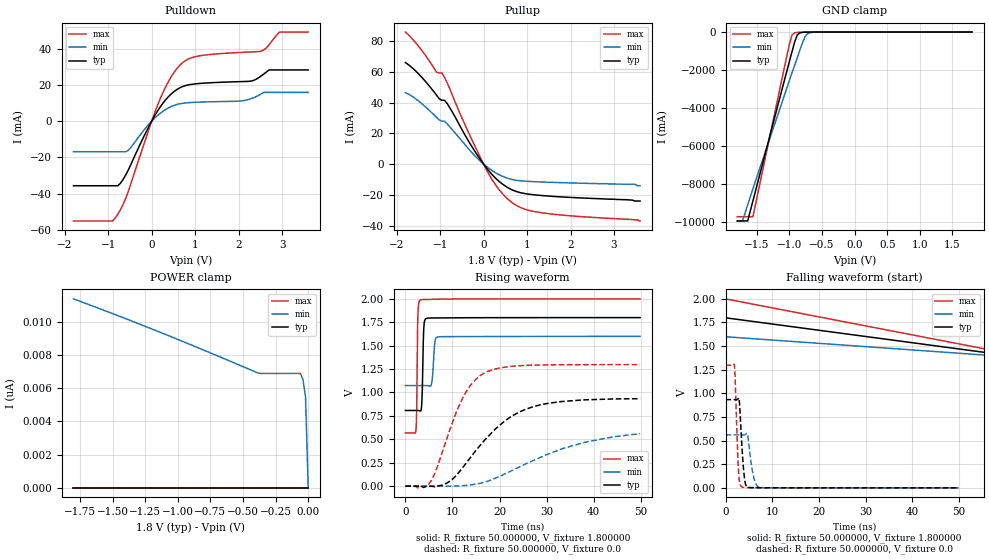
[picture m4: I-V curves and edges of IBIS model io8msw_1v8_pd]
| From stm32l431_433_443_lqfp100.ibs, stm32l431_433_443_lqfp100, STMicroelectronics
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|   Model io8msw_1v8_pd
[Model]  io8msw_1v8_pd
Model_type I/O
Polarity   Non-Inverting
Enable   Active-Low
Vinl =   0.540000V
Vinh =   1.260000V
Vmeas =  0.900000V
Cref =   100.000000nF
Rref =   1.000000k
Vref =   1.800000V
C_comp   2.845500pF   2.787900pF   3.023700pF
[Temperature Range]   25.000000   0.125000k   -40.000000
[Pullup Reference]   1.800000V   1.600000V   2.000000V
[Pulldown Reference]   0.0V   0.0V   0.0V
[POWER Clamp Reference]   1.800000V   1.600000V   2.000000V
[GND Clamp Reference]   0.0V   0.0V   0.0V
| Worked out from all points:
|   slope of the pulldown table from 0 to 0.27 V, typ, clamps not added: 26.4 ohm
|   slope of the pullup table from 0 to 0.27 V, typ, clamps not added: 30.1 ohm
|   GND clamp passes 1 mA (typ) near -0.58 V on its own axis
|   rising waveform, R_fixture 50.000000, V_fixture 1.800000: 20-80 % time 263ps typ, 401ps min, 194ps max; typ from 0.808 V to 1.8 V
|   rising waveform, R_fixture 50.000000, V_fixture 0.0: 20-80 % time 10.6ns typ, 16.4ns min, 6.12ns max; typ from 0 V to 0.933 V
|   falling waveform, R_fixture 50.000000, V_fixture 1.800000: 20-80 % time 90.1ns typ, 90.1ns min, 90.1ns max; typ from 1.8 V to 0.808 V
|   falling waveform, R_fixture 50.000000, V_fixture 0.0: 20-80 % time 712ps typ, 1.02ns min, 552ps max; typ from 0.933 V to 0 V
[Pulldown]
|Voltage   I(typ)   I(min)   I(max)
-1.8V     -35.64mA   -16.93mA   -55.1mA
-840mV    -35.64mA   -16.93mA   -53.52mA
-720mV    -34.31mA   -16.93mA   -48.86mA
-540mV    -27.04mA   -16.13mA   -38.89mA
240mV     9.303mA    5.14mA     14.78mA
480mV     15.67mA    8.374mA    25.64mA
720mV     19.18mA    9.883mA    32.46mA
1.08V     20.76mA    10.49mA    35.95mA
2.1V      21.86mA    11.28mA    37.98mA
2.52V     24.96mA    15.03mA    38.63mA
2.94V     28.26mA    15.88mA    49.18mA
3.6V      28.26mA    15.88mA    49.18mA
[Pullup]
|Voltage   I(typ)   I(min)   I(max)
-1.8V     66.05mA    46.47mA    85.93mA
-1.44V    57.04mA    39.77mA    74.64mA
-1.08V    44.76mA    30.37mA    59.74mA
-960mV    41.53mA    27.97mA    59.32mA
-840mV    39.49mA    26.25mA    53.02mA
-300mV    12.8mA     8.47mA     17.72mA
60mV      -2.268mA   -1.401mA   -3.341mA
300mV     -9.801mA   -6.008mA   -14.46mA
600mV     -15.96mA   -9.582mA   -23.81mA
900mV     -18.89mA   -10.98mA   -28.81mA
1.32V     -20.37mA   -11.6mA    -31.56mA
3.6V      -24mA      -14mA      -37mA
[GND_clamp]
|Voltage   I(typ)   I(min)   I(max)
-1.8V     -9.93A     -9.932A    -9.707A
-1.72V    -9.93A     -9.932A    -9.707A
-1.64V    -9.93A     -9.083A    -9.707A
-1.56V    -8.876A    -8.251A    -9.707A
-1V       -1.54A     -2.541A    -631mA
-960mV    -1.028A    -2.139A    -153.8mA
-920mV    -527mA     -1.74A     -39.13mA
-880mV    -155.7mA   -1.344A    -18.02mA
-840mV    -45.33mA   -953mA     -12.69mA
-760mV    -8.431mA   -235mA     -7.631mA
-680mV    -3.453mA   -33.02mA   -3.876mA
1.8V      47.6uA     51.88uA    39.21uA
[POWER_clamp]
|Voltage   I(typ)   I(min)   I(max)
-1.8V     0A         11.37nA    0A
-1.14V    0A         9.374nA    0A
-380mV    0A         6.895nA    0A
-60mV     0A         6.881nA    0A
-40mV     0A         6.518nA    0A
-20mV     0A         5.452nA    0A
0V        0A         0A         0A
[Ramp]
| variable   typ   min   max
dV/dt_r  0.55940/10.62917n   0.31316/16.48745n   0.77826/6.11293n
dV/dt_f  0.58916/9.85069n   0.28200/14.23375n   0.85860/5.41693n
R_load = 50.000000
[Rising Waveform]
R_fixture= 50.000000
V_fixture= 1.800000
V_fixture_min= 1.600000
V_fixture_max= 2.000000
|time   V(typ)   V(min)   V(max)
0s        807.9mV    1.074V     568mV
2.202ns   808mV      1.074V     575.6mV
2.402ns   808mV      1.074V     802.2mV
2.703ns   807.6mV    1.074V     1.881V
3.203ns   801mV      1.074V     1.988V
3.504ns   891.6mV    1.074V     1.991V
3.904ns   1.681V     1.074V     1.992V
4.404ns   1.789V     1.074V     1.993V
6.907ns   1.796V     1.593V     1.996V
49.85ns   1.799V     1.599V     1.999V
[Rising Waveform]
R_fixture= 50.000000
V_fixture= 0.0
V_fixture_min= 0.0
V_fixture_max= 0.0
|time   V(typ)   V(min)   V(max)
0s        3.019nV    73.58nV    2.158nV
5.405ns   -636.2uV   -1.161mV   50.95mV
8.809ns   32.12mV    -265.8uV   506.5mV
12.11ns   193.9mV    4.727mV    933.4mV
14.41ns   344.3mV    17.24mV    1.112V
16.82ns   490.7mV    42.11mV    1.21V
22.12ns   731.5mV    153.9mV    1.276V
28.13ns   861.2mV    295.2mV    1.293V
38.14ns   921.3mV    468.3mV    1.297V
49.85ns   933.5mV    560.6mV    1.297V
[Falling Waveform]
R_fixture= 50.000000
V_fixture= 1.800000
V_fixture_min= 1.600000
V_fixture_max= 2.000000
|time   V(typ)   V(min)   V(max)
0s        1.799V     1.599V     1.999V
150.2ns   807.9mV    1.074V     568mV
300.3ns   807.9mV    1.074V     568mV
14.86us   807.9mV    1.074V     568mV
[Falling Waveform]
R_fixture= 50.000000
V_fixture= 0.0
V_fixture_min= 0.0
V_fixture_max= 0.0
|time   V(typ)   V(min)   V(max)
0s        933.5mV    560.6mV    1.297V
1.902ns   933.5mV    560.6mV    1.303V
2.803ns   951.7mV    560.6mV    158.6mV
3.003ns   886.7mV    560.6mV    56.81mV
3.504ns   440.2mV    560.4mV    9.543mV
4.304ns   34.8mV     566.5mV    3.16mV
4.705ns   7.8mV      564.9mV    2.703mV
6.106ns   1.014mV    98.84mV    2.221mV
7.207ns   812.4uV    4.249mV    2.119mV
49.85ns   3.019nV    73.58nV    2.158nV
